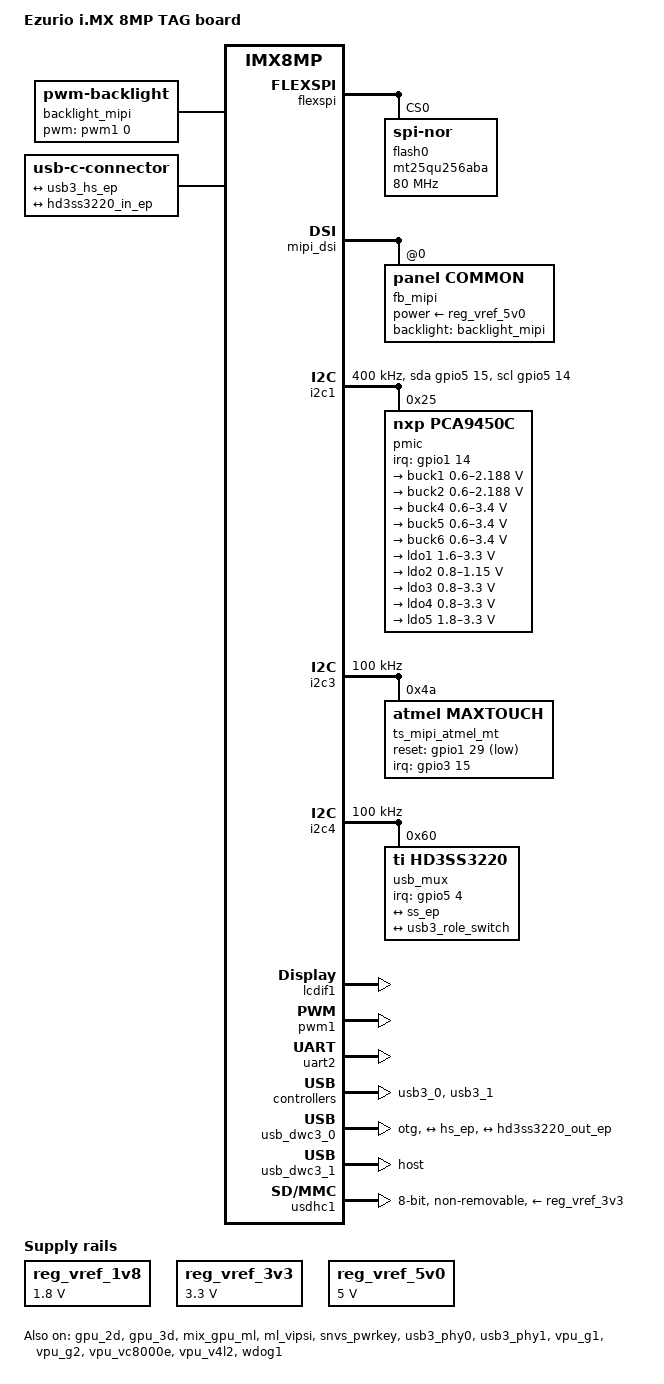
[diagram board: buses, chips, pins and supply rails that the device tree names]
// SPDX-License-Identifier: (GPL-2.0+ OR MIT)
/*
 * Copyright 2025 Ezurio LLC
 */

/dts-v1/;

#include <dt-bindings/usb/pd.h>
#include "imx8mp.dtsi"

#include "../panel-com35h3r04uly.dtsi"
#include "../panel-q035-014.dtsi"

/ {
	model = "Ezurio i.MX 8MP TAG board";
	compatible = "boundary,imx8mp-tag", "fsl,imx8mp";

	aliases {
		backlight_mipi = &backlight_mipi;
		ethernet0 = &eqos;
		/delete-property/ ethernet1;
		lcdif = &lcdif1;
		fb_mipi = &fb_mipi;
		mipi = &fb_mipi;
		mipi_dsi = &mipi_dsi;
		mipi_dsi_bridge = &mipi_dsi;
		pwm_mipi = &pwm1;
		t_mipi = &t_mipi;
		ts_atmel_mt = &ts_mipi_atmel_mt;
		usb_mux = &usb_mux;
	};

	backlight_mipi: backlight-mipi {
		brightness-levels = <
				0  /*1  2  3  4  5  6  7  8  9
				10 11 12 13 14 15 16 17 18 19*/
				20 21 22 23 24 25 26 27 28 29
				30 31 32 33 34 35 36 37 38 39
				40 41 42 43 44 45 46 47 48 49
				50 51 52 53 54 55 56 57 58 59
				60 61 62 63 64 65 66 67 68 69
				70 71 72 73 74 75 76 77 78 79
				80 81 82 83 84 85 86 87 88 89
				90 91 92 93 94 95 96 97 98 99
				100
				>;
		compatible = "pwm-backlight";
		default-brightness-level = <81>;
		pwms = <&pwm1 0 50000 0>;
		status = "okay";
	};

	chosen {
		stdout-path = &uart2;
	};

	connector {
		compatible = "usb-c-connector";
		label = "USB-C";
		data-role = "dual";

		ports {
		#address-cells = <1>;
		#size-cells = <0>;

			port@0 {
				reg = <0>;
				hs_ep: endpoint {
					remote-endpoint = <&usb3_hs_ep>;
				};
			};

			port@1 {
				reg = <1>;
				ss_ep: endpoint {
					remote-endpoint = <&hd3ss3220_in_ep>;
				};
			};
		};
	};

	reserved-memory {
		linux,cma {
			size = <0 0x20000000>;
		};
	};

	reg_vref_1v8: regulator-vref-1v8 {
		compatible = "regulator-fixed";
		regulator-name = "vref-1v8";
		regulator-min-microvolt = <1800000>;
		regulator-max-microvolt = <1800000>;
	};

	reg_vref_3v3: regulator-vref-3v3 {
		compatible = "regulator-fixed";
		regulator-name = "vref-3v3";
		regulator-min-microvolt = <3300000>;
		regulator-max-microvolt = <3300000>;
	};

	reg_vref_5v0: regulator-vref-5v0 {
		compatible = "regulator-fixed";
		regulator-name = "vref-5v0";
		regulator-min-microvolt = <5000000>;
		regulator-max-microvolt = <5000000>;
	};

};

&A53_0 {
	cpu-supply = <&buck2>;
};

&A53_1 {
	cpu-supply = <&buck2>;
};

&A53_2 {
	cpu-supply = <&buck2>;
};

&A53_3 {
	cpu-supply = <&buck2>;
};

&clk {
	init-on-array = <IMX8MP_CLK_HSIO_ROOT>;

	video_pll1 {
		modulation-frequency = <10000>;
	};
};

&flexspi {
	pinctrl-names = "default";
	pinctrl-0 = <&pinctrl_flexspi0>;
	status = "okay";

	flash0: mt25qu256aba@0 {
		reg = <0>;
		#address-cells = <1>;
		#size-cells = <1>;
		compatible = "jedec,spi-nor";
		spi-max-frequency = <80000000>;
		spi-tx-bus-width = <4>;
		spi-rx-bus-width = <4>;
	};
};

&gpio1 {
	gpio-line-names = "", "MAIN_PWM", "WDOG_B", "", "",	/* 0 - 4 */
		"", "", "", "", "",				/* 5 - 9 */
		"PWM3", "DRV_PWM", "", "", "PMIC_nINT",		/* 10 - 14 */
		"", "", "", "", "",			/* 15 - 19 */
		"", "", "", "BL_EN", "",		/* 20 - 24 */
		"", "", "", "", "TS_ATM_RST",		/* 25 - 29 */
		"", "";					/* 30 - 31 */
};

&gpio2 {
	gpio-line-names = "", "", "", "", "",		/* 0 - 4 */
		"", "", "", "", "",			/* 5 - 9 */
		"", "", "", "", "",			/* 10 - 14 */
		"", "", "", "", "",			/* 15 - 19 */
		"", "", "", "", "",			/* 20 - 24 */
		"", "", "", "", "",			/* 25 - 29 */
		"", "";					/* 30 - 31 */
};

&gpio3 {
	gpio-line-names = "", "", "", "", "",		/* 0 - 4 */
		"", "", "", "", "",			/* 5 - 9 */
		"", "", "", "", "",			/* 10 - 14 */
		"TS_ATM_IRQ", "", "", "", "",		/* 15 - 19 */
		"", "", "", "", "",			/* 20 - 24 */
		"", "", "", "", "",			/* 25 - 29 */
		"", "";					/* 30 - 31 */
};

&gpio4 {
	gpio-line-names = "", "", "", "", "",		/* 0 - 4 */
		"", "", "", "", "",			/* 5 - 9 */
		"", "", "", "", "",			/* 10 - 14 */
		"", "", "", "", "",			/* 15 - 19 */
		"", "", "", "", "",			/* 20 - 24 */
		"", "", "", "", "",			/* 25 - 29 */
		"", "";					/* 30 - 31 */
};

&gpio5 {
	gpio-line-names = "ETH_RST", "ETH_IRQ", "", "", "USB_MUX_IRQ",	/* 0 - 4 */
		"", "", "", "", "",				/* 5 - 9 */
		"", "", "", "", "I2C1_SCL",			/* 10 - 14 */
		"I2C1_SDA", "", "", "", "",			/* 15 - 19 */
		"", "", "", "", "",				/* 20 - 24 */
		"", "", "", "", "",				/* 25 - 29 */
		"", "";						/* 30 - 31 */
};

&gpu_2d {
	status = "okay";
};

&gpu_3d {
	status = "okay";
};

&mipi_dsi {
	status = "okay";
	#address-cells = <1>;
	#size-cells = <0>;

	fb_mipi: panel@0 {
		backlight = <&backlight_mipi>;
		bits-per-color = <8>;
		bridge-de-active = <0>;
		bus-format = "rgb888";
		clocks = <&mipi_dsi 0>,
			<&clk IMX8MP_CLK_MEDIA_DISP1_PIX_ROOT>;
		clock-names = "mipi_clk", "pixel_clock";
		compatible = "panel,common";
		delay-power-up = <2>;
		dsi-format = "rgb888";
		dsi-lanes = <4>;
		mode-skip-eot;
		mode-video;
		mode-video-burst;
		panel-height-mm = <136>;
		panel-width-mm = <217>;
		power-supply = <&reg_vref_5v0>;
		reg = <0>;
		spwg;

		display-timings {
			t_mipi: t-dsi-default {
				clock-frequency = <70000000>;
				hactive = <1280>;
				vactive = <800>;
				hback-porch = <5>;
				hfront-porch = <123>;
				vback-porch = <3>;
				vfront-porch = <24>;
				hsync-len = <1>;
				vsync-len = <1>;
				hsync-active = <0>;
				vsync-active = <0>;
				de-active = <1>;
			};
		};
	};
};

&mix_gpu_ml {
	status = "okay";
};

&ml_vipsi {
	status = "okay";
};

&eqos {
	pinctrl-names = "default";
	pinctrl-0 = <&pinctrl_eqos>;
	phy-mode = "rgmii-id";
	phy-handle = <&ethphy0>;
	status = "disabled";

	mdio {
		compatible = "snps,dwmac-mdio";
		#address-cells = <1>;
		#size-cells = <0>;

		ethphy0: ethernet-phy@7 {
			compatible = "ethernet-phy-ieee802.3-c22";
			interrupts-extended = <&gpio5 1 IRQ_TYPE_LEVEL_LOW>;
			max-speed = <100>;
			reset-gpios = <&gpio5 0 GPIO_ACTIVE_LOW>;
			reg = <7>;
			reset-assert-us = <10000>;
		};
	};
};

&i2c1 {
	clock-frequency = <400000>;
	pinctrl-names = "default", "gpio";
	pinctrl-0 = <&pinctrl_i2c1>;
	pinctrl-1 = <&pinctrl_i2c1_1>;
	scl-gpios = <&gpio5 14 GPIO_OPEN_DRAIN>;
	sda-gpios = <&gpio5 15 GPIO_OPEN_DRAIN>;
	status = "okay";

	pmic: pca9450@25 {
		reg = <0x25>;
		compatible = "nxp,pca9450c";
		pinctrl-0 = <&pinctrl_pmic>;
		interrupts-extended = <&gpio1 14 IRQ_TYPE_LEVEL_LOW>;

		regulators {
			buck1: BUCK1 {
				regulator-name = "BUCK1";
				regulator-min-microvolt = <600000>;
				regulator-max-microvolt = <2187500>;
				regulator-boot-on;
				regulator-always-on;
				regulator-ramp-delay = <3125>;
			};

			buck2: BUCK2 {
				regulator-name = "BUCK2";
				regulator-min-microvolt = <600000>;
				regulator-max-microvolt = <2187500>;
				regulator-limit-microvolt = <1025000>;
				regulator-boot-on;
				regulator-always-on;
				regulator-ramp-delay = <3125>;
				nxp,dvs-run-voltage = <950000>;
				nxp,dvs-standby-voltage = <850000>;
			};

			buck4: BUCK4 {
				regulator-name = "BUCK4";
				regulator-min-microvolt = <600000>;
				regulator-max-microvolt = <3400000>;
				regulator-boot-on;
				regulator-always-on;
			};

			buck5: BUCK5 {
				regulator-name = "BUCK5";
				regulator-min-microvolt = <600000>;
				regulator-max-microvolt = <3400000>;
				regulator-boot-on;
				regulator-always-on;
			};

			buck6: BUCK6 {
				regulator-name = "BUCK6";
				regulator-min-microvolt = <600000>;
				regulator-max-microvolt = <3400000>;
				regulator-boot-on;
				regulator-always-on;
			};

			ldo1: LDO1 {
				regulator-name = "LDO1";
				regulator-min-microvolt = <1600000>;
				regulator-max-microvolt = <3300000>;
				regulator-boot-on;
				regulator-always-on;
			};

			ldo2: LDO2 {
				regulator-name = "LDO2";
				regulator-min-microvolt = <800000>;
				regulator-max-microvolt = <1150000>;
				regulator-boot-on;
				regulator-always-on;
			};

			ldo3: LDO3 {
				regulator-name = "LDO3";
				regulator-min-microvolt = <800000>;
				regulator-max-microvolt = <3300000>;
				regulator-boot-on;
				regulator-always-on;
			};

			ldo4: LDO4 {
				regulator-name = "LDO4";
				regulator-min-microvolt = <800000>;
				regulator-max-microvolt = <3300000>;
				regulator-boot-on;
				regulator-always-on;
			};

			ldo5: LDO5 {
				regulator-name = "LDO5";
				regulator-min-microvolt = <1800000>;
				regulator-max-microvolt = <3300000>;
				regulator-boot-on;
				regulator-always-on;
			};
		};
	};
};

&i2c3 {
	clock-frequency = <100000>;
	pinctrl-names = "default";
	pinctrl-0 = <&pinctrl_i2c3>;
	status = "okay";

	ts_mipi_atmel_mt: touchscreen@4a {
		compatible = "atmel,maxtouch";
		interrupts-extended = <&gpio3 15 IRQ_TYPE_EDGE_FALLING>; /* NAND_RE_B */
		pinctrl-names = "default";
		pinctrl-0 = <&pinctrl_ts_atmel>;
		reg = <0x4a>;
		reset-gpios = <&gpio1 29 GPIO_ACTIVE_LOW>; /* ENET_RD3 */
	};
};

&i2c4 {
	clock-frequency = <100000>;
	pinctrl-names = "default";
	pinctrl-0 = <&pinctrl_i2c4>;
	status = "okay";

	usb_mux: hd3ss3220@60 {
		compatible = "ti,hd3ss3220";
		interrupts-extended = <&gpio5 4 IRQ_TYPE_LEVEL_LOW>;
		pinctrl-names = "default";
		pinctrl-0 = <&pinctrl_i2c4_hd3ss3220>;
		reg = <0x60>;

		ports {
		#address-cells = <1>;
		#size-cells = <0>;

			port@0 {
				reg = <0>;
				hd3ss3220_in_ep: endpoint {
					remote-endpoint = <&ss_ep>;
				};
			};

			port@1 {
				reg = <1>;
				hd3ss3220_out_ep: endpoint {
					remote-endpoint = <&usb3_role_switch>;
				};
			};
		};
	 };
};

&lcdif1 {
	status = "okay";
};

&pwm1 {
	pinctrl-names = "default";
	pinctrl-0 = <&pinctrl_pwm1>;
	status = "okay";
};

&snvs_pwrkey {
	status = "okay";
};

&uart2 {
	/* console */
	pinctrl-names = "default";
	pinctrl-0 = <&pinctrl_uart2>;
	status = "okay";
};

&usb3_0 {
	fsl,over-current-active-low;
	status = "okay";
};

&usb3_1 {
	status = "okay";
};

&usb_dwc3_0 {
	dr_mode = "otg";
	pinctrl-names = "default";
	pinctrl-0 = <&pinctrl_usb3_0>;
	status = "okay";
	usb-role-switch;

	ports {
		#address-cells = <1>;
		#size-cells = <0>;

		port@0 {
			reg = <0>;
			usb3_hs_ep: endpoint {
				remote-endpoint = <&hs_ep>;
			};
		};

		port@1 {
			reg = <1>;
			usb3_role_switch: endpoint {
				remote-endpoint = <&hd3ss3220_out_ep>;
			};
		};
	};
};

&usb_dwc3_1 {
	dr_mode = "host";
	status = "okay";
};

&usb3_phy0 {
	fsl,phy-tx-preemp-amp-tune = <2>;
	status = "okay";
	vbus-supply = <&reg_vref_5v0>;
};

&usb3_phy1 {
	fsl,phy-tx-preemp-amp-tune = <2>;
	status = "okay";
	vbus-supply = <&reg_vref_5v0>;
};

&usdhc1 {
	bus-width = <8>;
	mmc-hs400-1_8v;
	mmc-hs400-enhanced-strobe;
	no-sd;
	no-sdio;
	non-removable;
	pinctrl-names = "default", "state_100mhz", "state_200mhz";
	pinctrl-0 = <&pinctrl_usdhc1>;
	pinctrl-1 = <&pinctrl_usdhc1_100mhz>;
	pinctrl-2 = <&pinctrl_usdhc1_200mhz>;
	status = "okay";
	vmmc-supply = <&reg_vref_3v3>;
	vqmmc-1-8-v;
	vqmmc-supply = <&reg_vref_1v8>;
};

&vpu_g1 {
	status = "okay";
};

&vpu_g2 {
	status = "okay";
};

&vpu_vc8000e {
	status = "okay";
};

&vpu_v4l2 {
	status = "okay";
};

&wdog1 {
	pinctrl-names = "default";
	pinctrl-0 = <&pinctrl_wdog>;
	fsl,ext-reset-output;
	status = "okay";
};

&iomuxc {
	pinctrl-names = "default";
	pinctrl-0 = <&pinctrl_hog>;

	pinctrl_backlight_lvds: backlight-lvdsgrp {
		fsl,pins = <
			MX8MP_IOMUXC_ENET_TXC__GPIO1_IO23		0x106 /* BL_EN */
		>;
	};

	pinctrl_eqos: eqosgrp {
		fsl,pins = <
			MX8MP_IOMUXC_ENET_MDC__ENET_QOS_MDC		0x110
			MX8MP_IOMUXC_ENET_MDIO__ENET_QOS_MDIO		0xa0
			MX8MP_IOMUXC_ENET_TX_CTL__ENET_QOS_RGMII_TX_CTL	0x1f
			MX8MP_IOMUXC_ENET_TD0__ENET_QOS_RGMII_TD0	0x1f
			MX8MP_IOMUXC_ENET_TD1__ENET_QOS_RGMII_TD1	0x1f

			MX8MP_IOMUXC_ENET_RX_CTL__ENET_QOS_RGMII_RX_CTL	0x91
			MX8MP_IOMUXC_ENET_RXC__CCM_ENET_QOS_CLOCK_GENERATE_RX_CLK	0x91
			MX8MP_IOMUXC_ENET_RD0__ENET_QOS_RGMII_RD0	0x91
			MX8MP_IOMUXC_ENET_RD1__ENET_QOS_RGMII_RD1	0x1D1

			MX8MP_IOMUXC_SAI3_TXC__GPIO5_IO00		0x1c3	/* RST */
			MX8MP_IOMUXC_SAI3_TXD__GPIO5_IO01		0x10	/* INT */
		>;
	};

	pinctrl_flexspi0: flexspi0grp {
		fsl,pins = <
			MX8MP_IOMUXC_NAND_ALE__FLEXSPI_A_SCLK		0x1c2
			MX8MP_IOMUXC_NAND_CE0_B__FLEXSPI_A_SS0_B	0x82
			MX8MP_IOMUXC_NAND_DATA00__FLEXSPI_A_DATA00	0x82
			MX8MP_IOMUXC_NAND_DATA01__FLEXSPI_A_DATA01	0x82
			MX8MP_IOMUXC_NAND_DATA02__FLEXSPI_A_DATA02	0x82
			MX8MP_IOMUXC_NAND_DATA03__FLEXSPI_A_DATA03	0x82
		>;
	};

	pinctrl_hog: hoggrp {
		fsl,pins = <
			MX8MP_IOMUXC_GPIO1_IO09__GPIO1_IO09		0x1c0
		>;
	};

	pinctrl_i2c1: i2c1grp {
		fsl,pins = <
			MX8MP_IOMUXC_I2C1_SCL__I2C1_SCL		0x400001c3
			MX8MP_IOMUXC_I2C1_SDA__I2C1_SDA		0x400001c3
		>;
	};

	pinctrl_i2c1_1: i2c1-1grp {
		fsl,pins = <
			MX8MP_IOMUXC_I2C1_SCL__GPIO5_IO14	0x1c3
			MX8MP_IOMUXC_I2C1_SDA__GPIO5_IO15	0x1c3
		>;
	};

	pinctrl_i2c3: i2c3grp {
		fsl,pins = <
			MX8MP_IOMUXC_I2C3_SCL__I2C3_SCL		0x400001c3
			MX8MP_IOMUXC_I2C3_SDA__I2C3_SDA		0x400001c3
		>;
	};

	pinctrl_i2c4: i2c4grp {
		fsl,pins = <
			MX8MP_IOMUXC_I2C4_SCL__I2C4_SCL		0x400001c3
			MX8MP_IOMUXC_I2C4_SDA__I2C4_SDA		0x400001c3
		>;
	};

	pinctrl_i2c4_hd3ss3220: i2c4-hd3ss3220grp {
		fsl,pins = <
			MX8MP_IOMUXC_SPDIF_RX__GPIO5_IO04	0x16
		>;
	};

	pinctrl_mipi_com35h3r04uly: mipi-com35h3r04ulygrp {
		fsl,pins = <
			MX8MP_IOMUXC_SPDIF_TX__GPIO5_IO03	0x02
		>;
	};

	pinctrl_mipi_q035_014: mipi-q035-014grp {
		fsl,pins = <
			MX8MP_IOMUXC_SPDIF_TX__GPIO5_IO03	0x02
		>;
	};

	pinctrl_pmic: pmicirq {
		fsl,pins = <
			MX8MP_IOMUXC_GPIO1_IO14__GPIO1_IO14	0x41
		>;
	};

	pinctrl_pwm1: pwm1grp {
		fsl,pins = <
			MX8MP_IOMUXC_SAI5_MCLK__PWM1_OUT	0x160
		>;
	};

	pinctrl_ts_atmel: ts-atmelgrp {
		fsl,pins = <
			MX8MP_IOMUXC_NAND_RE_B__GPIO3_IO15	0x03
			MX8MP_IOMUXC_ENET_RD3__GPIO1_IO29	0x03
		>;
	};

	pinctrl_uart2: uart2grp {
		fsl,pins = <
			MX8MP_IOMUXC_UART2_RXD__UART2_DCE_RX	0x140
			MX8MP_IOMUXC_UART2_TXD__UART2_DCE_TX	0x140
		>;
	};

	pinctrl_usb3_0: usb3-0grp {
		fsl,pins = <
			MX8MP_IOMUXC_GPIO1_IO13__USB1_OC	0x1c0
		>;
	};

	pinctrl_usdhc1: usdhc1grp {
		fsl,pins = <
			MX8MP_IOMUXC_SD1_CLK__USDHC1_CLK	0x10
			MX8MP_IOMUXC_SD1_CMD__USDHC1_CMD	0x150
			MX8MP_IOMUXC_SD1_DATA0__USDHC1_DATA0	0x150
			MX8MP_IOMUXC_SD1_DATA1__USDHC1_DATA1	0x150
			MX8MP_IOMUXC_SD1_DATA2__USDHC1_DATA2	0x150
			MX8MP_IOMUXC_SD1_DATA3__USDHC1_DATA3	0x150
			MX8MP_IOMUXC_SD1_DATA4__USDHC1_DATA4	0x150
			MX8MP_IOMUXC_SD1_DATA5__USDHC1_DATA5	0x150
			MX8MP_IOMUXC_SD1_DATA6__USDHC1_DATA6	0x150
			MX8MP_IOMUXC_SD1_DATA7__USDHC1_DATA7	0x150
			MX8MP_IOMUXC_SD1_STROBE__USDHC1_STROBE	0x10
			MX8MP_IOMUXC_SD1_RESET_B__USDHC1_RESET_B 0x140
		>;
	};

	pinctrl_usdhc1_100mhz: usdhc1grp-100mhz {
		fsl,pins = <
			MX8MP_IOMUXC_SD1_CLK__USDHC1_CLK	0x14
			MX8MP_IOMUXC_SD1_CMD__USDHC1_CMD	0x154
			MX8MP_IOMUXC_SD1_DATA0__USDHC1_DATA0	0x154
			MX8MP_IOMUXC_SD1_DATA1__USDHC1_DATA1	0x154
			MX8MP_IOMUXC_SD1_DATA2__USDHC1_DATA2	0x154
			MX8MP_IOMUXC_SD1_DATA3__USDHC1_DATA3	0x154
			MX8MP_IOMUXC_SD1_DATA4__USDHC1_DATA4	0x154
			MX8MP_IOMUXC_SD1_DATA5__USDHC1_DATA5	0x154
			MX8MP_IOMUXC_SD1_DATA6__USDHC1_DATA6	0x154
			MX8MP_IOMUXC_SD1_DATA7__USDHC1_DATA7	0x154
			MX8MP_IOMUXC_SD1_STROBE__USDHC1_STROBE	0x14
		>;
	};

	pinctrl_usdhc1_200mhz: usdhc1grp-200mhz {
		fsl,pins = <
			MX8MP_IOMUXC_SD1_CLK__USDHC1_CLK	0x12
			MX8MP_IOMUXC_SD1_CMD__USDHC1_CMD	0x152
			MX8MP_IOMUXC_SD1_DATA0__USDHC1_DATA0	0x152
			MX8MP_IOMUXC_SD1_DATA1__USDHC1_DATA1	0x152
			MX8MP_IOMUXC_SD1_DATA2__USDHC1_DATA2	0x152
			MX8MP_IOMUXC_SD1_DATA3__USDHC1_DATA3	0x152
			MX8MP_IOMUXC_SD1_DATA4__USDHC1_DATA4	0x152
			MX8MP_IOMUXC_SD1_DATA5__USDHC1_DATA5	0x152
			MX8MP_IOMUXC_SD1_DATA6__USDHC1_DATA6	0x152
			MX8MP_IOMUXC_SD1_DATA7__USDHC1_DATA7	0x152
			MX8MP_IOMUXC_SD1_STROBE__USDHC1_STROBE	0x12
		>;
	};

	pinctrl_wdog: wdoggrp {
		fsl,pins = <
			MX8MP_IOMUXC_GPIO1_IO02__WDOG1_WDOG_B	0xc6
		>;
	};
};
